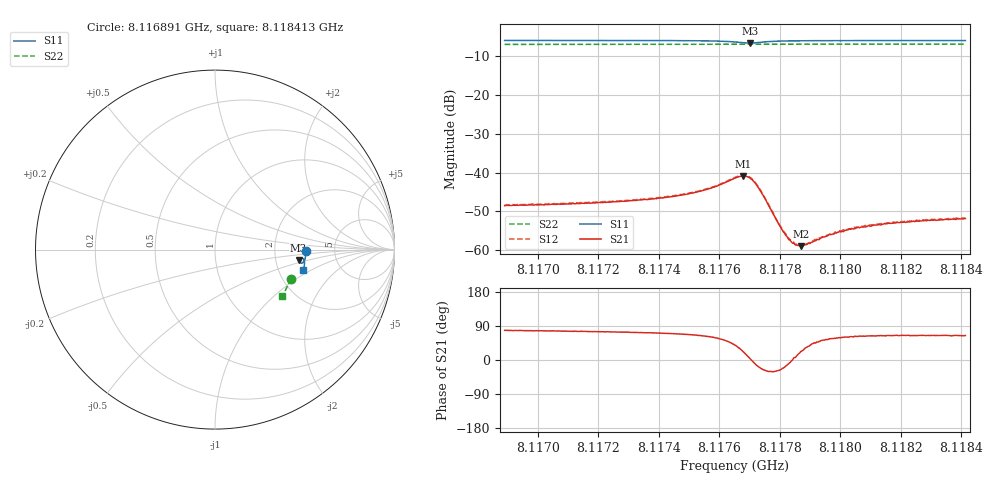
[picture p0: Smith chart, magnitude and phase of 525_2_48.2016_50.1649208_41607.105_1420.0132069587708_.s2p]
#  HZ  S  RI  R  50.00
! Rohde & Schwarz Vector Network Analyzer
! Rohde-Schwarz,ZNB20-2Port,1311601062101988,3.16
! Created: UTC 3/20/2024, 11:59:38 AM
! freq[Hz]  re:S11  im:S11  re:S21  im:S21  re:S12  im:S12  re:S22  im:S22
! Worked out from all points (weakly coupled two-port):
!   401 points, 8.116891 GHz to 8.118413 GHz, reference 50 ohm
!   highest |S21| = -40.86 dB at 8.117679 GHz (marker M1); lowest = -59.0 dB at 8.117869 GHz (marker M2)
!   lowest |S11| = -6.6 dB at 8.117701 GHz (marker M3), VSWR 2.77, Z = 135 - j20.2 ohm
!   |S11| at or under -10 dB: nowhere
!   |S22| runs from -6.9 to -6.8 dB; largest |S21 - S12| = 0.00023
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8.1168909e9  0.5067 -0.00716  0.000756 0.00366  0.000843 0.00373  0.4212 -0.1612
8.1171458e9  0.5055 -0.0274  0.000998 0.0039  0.00107 0.00395  0.4152 -0.1779
8.1173095e9  0.504 -0.041  0.00128 0.00416  0.00132 0.0042  0.411 -0.1887
8.1174008e9  0.5026 -0.0491  0.00151 0.00443  0.00159 0.0045  0.4085 -0.1946
8.117534e9  0.4982 -0.063  0.00243 0.00519  0.00252 0.00524  0.4046 -0.2032
8.1175796e9  0.4945 -0.0688  0.00324 0.00559  0.00334 0.00563  0.403 -0.2062
8.1176519e9  0.4786 -0.0756  0.00657 0.00538  0.00676 0.00545  0.4003 -0.2108
8.1176786e9  0.4685 -0.0699  0.00838 0.00345  0.00856 0.00346  0.399 -0.2119
8.1177014e9  0.4657 -0.0583  0.0085 0.000528  0.0087 0.000472  0.3984 -0.2126
8.1177166e9  0.4696 -0.0509  0.00736 -0.00117  0.00753 -0.00121  0.3981 -0.2132
8.1177318e9  0.4759 -0.047  0.00584 -0.00201  0.00599 -0.0021  0.3982 -0.2142
8.1177927e9  0.4935 -0.053  0.00204 -0.00109  0.00208 -0.00113  0.3971 -0.2181
8.1178231e9  0.4965 -0.0582  0.00146 -0.000358  0.00146 -0.000411  0.3961 -0.2204
8.1178422e9  0.4975 -0.0611  0.00123 3.16e-06  0.00125 -3.35e-05  0.3956 -0.2216
8.1178536e9  0.4979 -0.0628  0.00115 0.000173  0.00119 0.000184  0.3954 -0.2223
8.1178688e9  0.4983 -0.0647  0.00104 0.00042  0.00107 0.000413  0.3947 -0.2233
8.1179069e9  0.4988 -0.0695  0.000935 0.000862  0.000987 0.000846  0.3935 -0.2259
8.1179601e9  0.4988 -0.0751  0.000901 0.00127  0.000928 0.00127  0.3918 -0.2292
8.118021e9  0.4983 -0.0812  0.000898 0.00158  0.000938 0.00161  0.3898 -0.2329
8.1180895e9  0.4976 -0.0873  0.000905 0.00183  0.000932 0.00186  0.3874 -0.2372
8.1181618e9  0.4966 -0.0934  0.000964 0.002  0.000967 0.00202  0.385 -0.2416
8.1184129e9  0.4925 -0.1129  0.00109 0.00231  0.00112 0.00235  0.376 -0.2568
